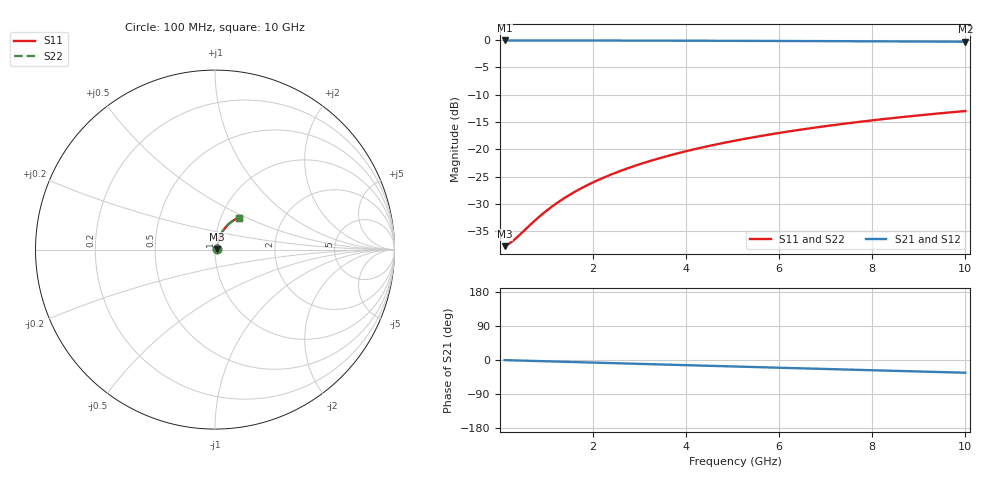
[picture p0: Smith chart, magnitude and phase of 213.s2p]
# Hz S RI R 50.00
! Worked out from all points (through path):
!   100 points, 100 MHz to 10 GHz, reference 50 ohm
!   highest |S21| = -0.11 dB at 100 MHz (marker M1); lowest = -0.3 dB at 10 GHz (marker M2)
!   group delay of S21, straight-line fit = 9.34 ps
!   lowest |S11| = -37.7 dB at 100 MHz (marker M3), VSWR 1.03, Z = 51.3 + j0.239 ohm
!   |S11| at or under -10 dB: start of sweep to end of sweep
!   |S22| runs from -37.7 to -13.0 dB; largest |S21 - S12| = 0
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1e8  0.0128 0.00233  0.9872 -0.00588  0.9872 -0.00588  0.0128 0.00233
2e8  0.0129 0.00466  0.987 -0.0118  0.987 -0.0118  0.0129 0.00466
3e8  0.0131 0.00699  0.9869 -0.0176  0.9869 -0.0176  0.0131 0.00699
8e8  0.014 0.0186  0.9856 -0.047  0.9856 -0.047  0.014 0.0186
9e8  0.0143 0.0209  0.9852 -0.0529  0.9852 -0.0529  0.0143 0.0209
1.1e9  0.0149 0.0255  0.9843 -0.0646  0.9843 -0.0646  0.0149 0.0255
1.4e9  0.016 0.0324  0.9827 -0.0822  0.9827 -0.0822  0.016 0.0324
1.6e9  0.0169 0.037  0.9815 -0.0938  0.9815 -0.0938  0.0169 0.037
1.8e9  0.0178 0.0415  0.9801 -0.1055  0.9801 -0.1055  0.0178 0.0415
2.1e9  0.0195 0.0483  0.9776 -0.1229  0.9776 -0.1229  0.0195 0.0483
2.5e9  0.0221 0.0572  0.9739 -0.146  0.9739 -0.146  0.0221 0.0572
2.9e9  0.0251 0.066  0.9695 -0.169  0.9695 -0.169  0.0251 0.066
3.4e9  0.0294 0.0767  0.9631 -0.1975  0.9631 -0.1975  0.0294 0.0767
3.8e9  0.0333 0.0851  0.9574 -0.2201  0.9574 -0.2201  0.0333 0.0851
4.2e9  0.0376 0.0933  0.951 -0.2424  0.951 -0.2424  0.0376 0.0933
4.6e9  0.0422 0.1012  0.9441 -0.2645  0.9441 -0.2645  0.0422 0.1012
5.1e9  0.0486 0.1108  0.9346 -0.2918  0.9346 -0.2918  0.0486 0.1108
5.9e9  0.0598 0.1252  0.9177 -0.3346  0.9177 -0.3346  0.0598 0.1252
6.7e9  0.0723 0.1385  0.8987 -0.3761  0.8987 -0.3761  0.0723 0.1385
7.5e9  0.0859 0.1505  0.8777 -0.4162  0.8777 -0.4162  0.0859 0.1505
8.4e9  0.1024 0.1623  0.8518 -0.4597  0.8518 -0.4597  0.1024 0.1623
1e10  0.1341 0.1787  0.8007 -0.532  0.8007 -0.532  0.1341 0.1787
